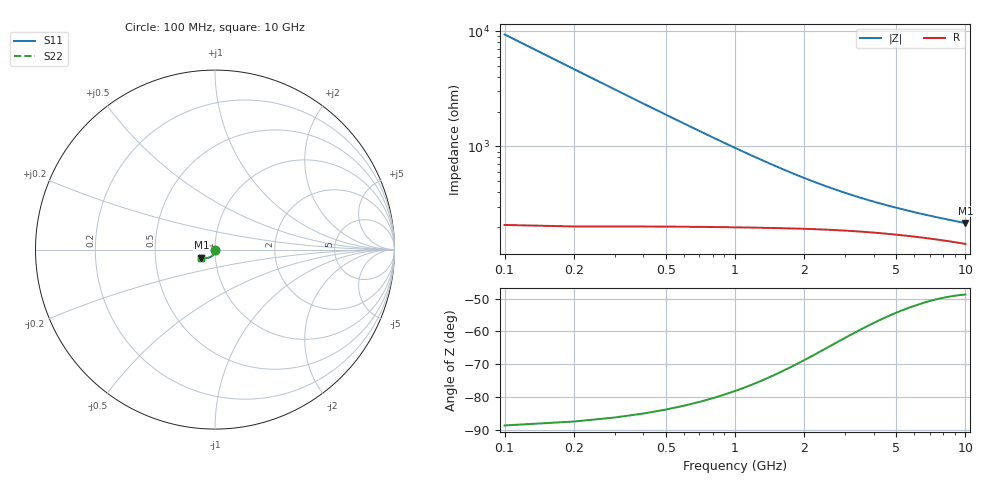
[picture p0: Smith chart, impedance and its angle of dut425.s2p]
! Touchstone file exported from HFSS 2024.1.0
!  File:  C:/UserFiles/LocalFiles/RDL_TSV_Batchsim/temp_TSV1_425_1779693691.aedt
!  Generated:  03:26:30 PM May 25, 2026
!  Design:  TSV1
!  Project:  temp_TSV1_425_1779693691
!  Setup:  Setup1
!  Solution:  Sweep
! Variables:
!  dtsv = 14.65um
!  hbump = 3um
!  htsv = 95.68um
!  lrdl = 252.1521522um
!  p = 40
!  p1 = 42.46um
!  t = 500um
!  trdl = 3um
!  wrdl = 24.89489489um
# GHz S MA R 50.000000
! Terminal data exported
! Port[1] = TSV22_T1
! Port[2] = TSV22_T2
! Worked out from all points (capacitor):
!   100 points, 100 MHz to 10 GHz, reference 50 ohm
!   read as one part in shunt: C = 170 fF near 100 MHz
!   lowest |Z| = 216 ohm at 10 GHz (marker M1)
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0.1  0.002321 -89.1  0.9998 -0.2  0.9998 -0.2  0.002321 -89.1
! Gamma 0 0 0 0
! Port Impedance 50 0 50 0
0.2  0.004645 -91.6  0.9996 -0.3  0.9996 -0.3  0.004645 -91.6
0.3  0.006968 -93.5  0.9993 -0.5  0.9993 -0.5  0.006968 -93.5
0.4  0.009279 -95.2  0.9989 -0.7  0.9989 -0.7  0.009279 -95.2
0.5  0.01157 -96.8  0.9983 -0.9  0.9983 -0.9  0.01157 -96.8
0.6  0.01383 -98.4  0.9977 -1.0  0.9977 -1.0  0.01383 -98.4
0.7  0.01605 -99.9  0.9969 -1.2  0.9969 -1.2  0.01605 -99.9
0.8  0.01824 -101.4  0.9961 -1.3  0.9961 -1.3  0.01824 -101.4
0.9  0.02038 -102.9  0.9952 -1.5  0.9952 -1.5  0.02038 -102.9
1.1  0.02453 -105.7  0.9932 -1.8  0.9932 -1.8  0.02453 -105.7
1.4  0.03035 -109.7  0.9897 -2.2  0.9897 -2.2  0.03035 -109.7
1.6  0.03395 -112.1  0.9872 -2.4  0.9872 -2.4  0.03395 -112.1
1.8  0.03734 -114.4  0.9847 -2.6  0.9847 -2.6  0.03734 -114.4
2.1  0.042 -117.7  0.9808 -2.9  0.9808 -2.9  0.042 -117.7
2.5  0.04751 -121.5  0.9757 -3.3  0.9757 -3.3  0.04751 -121.5
2.9  0.0523 -124.9  0.9708 -3.6  0.9708 -3.6  0.0523 -124.9
3.4  0.05744 -128.5  0.9651 -3.9  0.9651 -3.9  0.05744 -128.5
4.2  0.06413 -133.1  0.9572 -4.3  0.9572 -4.3  0.06413 -133.1
5.1  0.07004 -137.2  0.9499 -4.7  0.9499 -4.7  0.07004 -137.2
6.7  0.07785 -142.5  0.9398 -5.3  0.9398 -5.3  0.07785 -142.5
8.4  0.08377 -146.4  0.932 -5.9  0.932 -5.9  0.08378 -146.4
10  0.08796 -149.2  0.9265 -6.5  0.9265 -6.5  0.08796 -149.2
